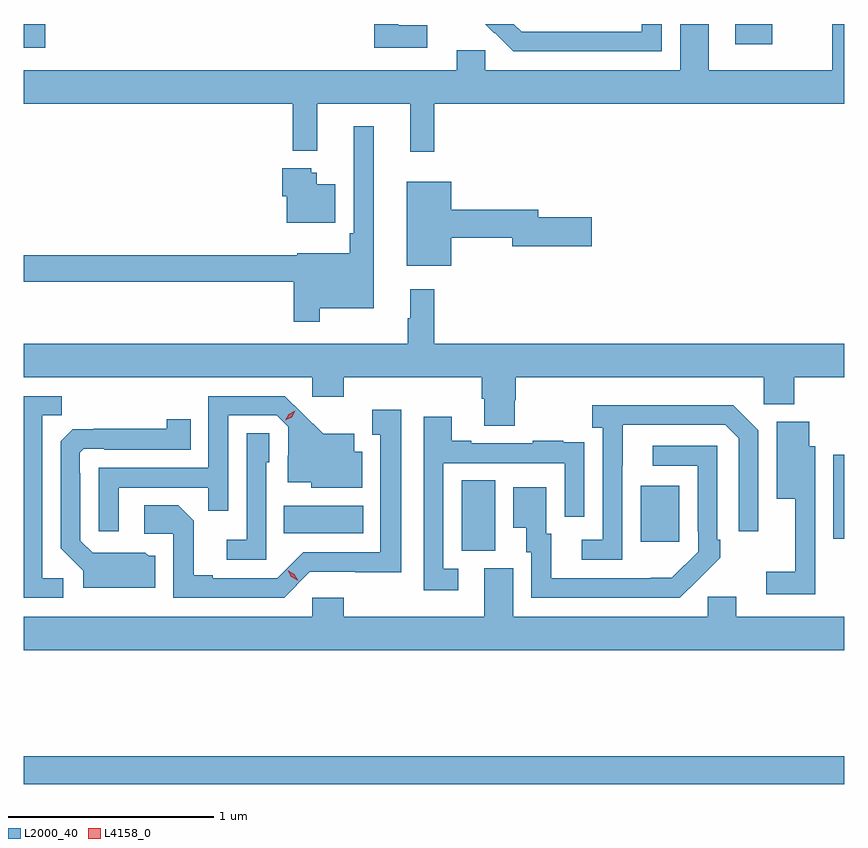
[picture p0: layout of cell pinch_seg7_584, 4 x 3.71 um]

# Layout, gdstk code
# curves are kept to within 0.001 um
import gdstk
lib = gdstk.Library(unit=1e-6, precision=1e-09)
def R(c, l, rs):  # rectangles x0, y0, x1, y1
    for r in rs: c.add(gdstk.rectangle(r[:2], r[2:], *l))
def P(c, l, *ps):  # polygons
    for p in ps: c.add(gdstk.Polygon(p, *l))
L2000_40 = (2000, 40)
L4158_0 = (4158, 0)

pinch_seg7_584 = lib.new_cell('pinch_seg7_584')
R(pinch_seg7_584, L2000_40, [(148.089,1037.26,152.089,1037.396), (150.224,1038.397,150.388,1038.74), (151.097,1038.441,151.285,1038.715), (152.036,1038.455,152.089,1038.865), (149.356,1038.482,149.743,1038.616), (148.089,1040.85,148.193,1040.966), (151.557,1040.868,151.738,1040.966)])
P(pinch_seg7_584, L2000_40, [(150.055,1040.959),(149.915,1040.959),(149.915,1040.966),(149.797,1040.966),(149.797,1040.85),(150.055,1040.85)],
  [(151.2,1040.966),(151.103,1040.966),(151.103,1040.928),(150.619,1040.928),(150.619,1040.929),(150.516,1040.929),(150.479,1040.966),(150.34,1040.966),(150.384,1040.922),(150.385,1040.923),(150.476,1040.832),(151.2,1040.832)],
  [(150.089,1040.576),(152.089,1040.576),(152.089,1040.966),(152.03,1040.966),(152.03,1040.74),(151.429,1040.74),(151.429,1040.966),(151.289,1040.966),(151.289,1040.74),(150.339,1040.74),(150.339,1040.838),(150.2,1040.838),(150.2,1040.74),(148.089,1040.74),(148.089,1040.576),(149.401,1040.576),(149.401,1040.348),(149.519,1040.348),(149.519,1040.576),(149.972,1040.576),(149.972,1040.343),(150.089,1040.343)],
  [(149.533,1039.58),(149.794,1039.58),(149.794,1040.467),(149.697,1040.467),(149.697,1039.945),(149.677,1039.945),(149.677,1039.849),(149.423,1039.849),(149.423,1039.838),(148.089,1039.838),(148.089,1039.71),(149.404,1039.71),(149.404,1039.515),(149.533,1039.515)],
  [(149.608,1040.185),(149.518,1040.185),(149.518,1040.241),(149.49,1040.241),(149.49,1040.263),(149.348,1040.263),(149.348,1040.127),(149.372,1040.127),(149.372,1039.997),(149.608,1039.997)],
  [(150.172,1039.924),(150.47,1039.924),(150.47,1039.882),(150.859,1039.882),(150.859,1040.024),(150.598,1040.024),(150.598,1040.06),(150.172,1040.06),(150.172,1040.197),(149.957,1040.197),(149.957,1039.787),(150.172,1039.787)],
  [(150.089,1039.672),(149.972,1039.672),(149.972,1039.532),(149.961,1039.532),(149.961,1039.408),(148.089,1039.408),(148.089,1039.244),(149.496,1039.244),(149.496,1039.149),(149.648,1039.149),(149.648,1039.244),(150.323,1039.244),(150.323,1039.138),(150.335,1039.138),(150.335,1039.006),(150.483,1039.006),(150.483,1039.131),(150.488,1039.131),(150.488,1039.244),(151.698,1039.244),(151.698,1039.113),(151.845,1039.113),(151.845,1039.244),(152.089,1039.244),(152.089,1039.408),(150.089,1039.408)],
  [(148.551,1038.705),(148.987,1038.705),(148.987,1038.592),(149.085,1038.592),(149.085,1039.059),(149.322,1039.059),(149.379,1039.002),(149.379,1038.86),(149.375,1038.86),(149.375,1038.731),(149.49,1038.731),(149.49,1038.704),(149.74,1038.704),(149.74,1038.88),(149.701,1038.88),(149.701,1038.967),(149.549,1038.967),(149.362,1039.152),(148.989,1039.152),(148.989,1038.801),(148.455,1038.801),(148.455,1038.492),(148.551,1038.492)],
  [(148.282,1038.264),(148.179,1038.264),(148.179,1039.057),(148.275,1039.057),(148.275,1039.152),(148.089,1039.152),(148.089,1038.168),(148.282,1038.168)],
  [(151.008,1038.811),(151.009,1039.011),(151.509,1039.011),(151.575,1038.945),(151.575,1038.492),(151.671,1038.492),(151.671,1038.985),(151.548,1039.108),(150.861,1039.108),(150.861,1038.998),(150.912,1038.998),(150.912,1038.45),(150.81,1038.45),(150.81,1038.354),(151.008,1038.354)],
  [(149.484,1038.294),(149.929,1038.293),(149.929,1039.084),(149.789,1039.084),(149.789,1038.963),(149.828,1038.963),(149.828,1038.39),(149.451,1038.39),(149.325,1038.264),(149.011,1038.264),(149.011,1038.277),(148.917,1038.277),(148.917,1038.544),(148.841,1038.62),(148.677,1038.62),(148.677,1038.48),(148.818,1038.48),(148.818,1038.168),(149.358,1038.168)],
  [(150.208,1038.309),(150.135,1038.309),(150.135,1038.825),(150.726,1038.825),(150.726,1038.564),(150.822,1038.564),(150.822,1038.818),(150.821,1038.818),(150.821,1038.927),(150.719,1038.927),(150.719,1038.934),(150.571,1038.934),(150.571,1038.921),(150.271,1038.921),(150.271,1038.934),(150.175,1038.934),(150.175,1039.051),(150.039,1039.051),(150.039,1038.204),(150.208,1038.204)],
  [(148.729,1038.372),(148.698,1038.372),(148.682,1038.388),(148.425,1038.387),(148.365,1038.447),(148.365,1038.776),(148.362,1038.776),(148.362,1038.876),(148.38,1038.894),(148.48,1038.894),(148.48,1038.891),(148.904,1038.891),(148.904,1039.039),(148.786,1039.039),(148.786,1038.992),(148.328,1038.991),(148.269,1038.932),(148.269,1038.41),(148.379,1038.3),(148.379,1038.218),(148.729,1038.218)],
  [(151.947,1038.907),(151.918,1038.907),(151.918,1039.027),(151.76,1039.027),(151.76,1038.65),(151.85,1038.65),(151.85,1038.295),(151.71,1038.295),(151.71,1038.186),(151.947,1038.186)],
  [(149.271,1038.828),(149.286,1038.828),(149.286,1038.971),(149.175,1038.971),(149.175,1038.451),(149.079,1038.451),(149.079,1038.354),(149.271,1038.354)],
  [(151.379,1038.259),(151.38,1038.258),(151.485,1038.363),(151.485,1038.451),(151.47,1038.451),(151.47,1038.909),(151.155,1038.909),(151.155,1038.813),(151.374,1038.813),(151.374,1038.493),(151.377,1038.493),(151.377,1038.393),(151.249,1038.265),(150.661,1038.264),(150.661,1038.48),(150.637,1038.48),(150.637,1038.706),(150.476,1038.706),(150.476,1038.509),(150.539,1038.509),(150.539,1038.39),(150.564,1038.39),(150.564,1038.168),(151.288,1038.168)],
  [(152.089,1038.076),(151.564,1038.076),(151.564,1038.174),(151.425,1038.174),(151.425,1038.076),(150.475,1038.076),(150.475,1038.312),(150.335,1038.312),(150.335,1038.076),(149.648,1038.076),(149.648,1038.169),(149.496,1038.169),(149.496,1038.076),(148.089,1038.076),(148.089,1037.912),(152.089,1037.912)])
P(pinch_seg7_584, L4158_0, [(149.364,1039.033),(149.364,1039.034),(149.381,1039.063),(149.412,1039.079),(149.412,1039.079),(149.412,1039.079),(149.395,1039.049),(149.364,1039.033)],
  [(149.426,1038.251),(149.394,1038.27),(149.376,1038.302),(149.376,1038.302),(149.377,1038.302),(149.408,1038.283),(149.426,1038.251),(149.426,1038.251)])

lib.write_gds('pinch_seg7_584.gds')
